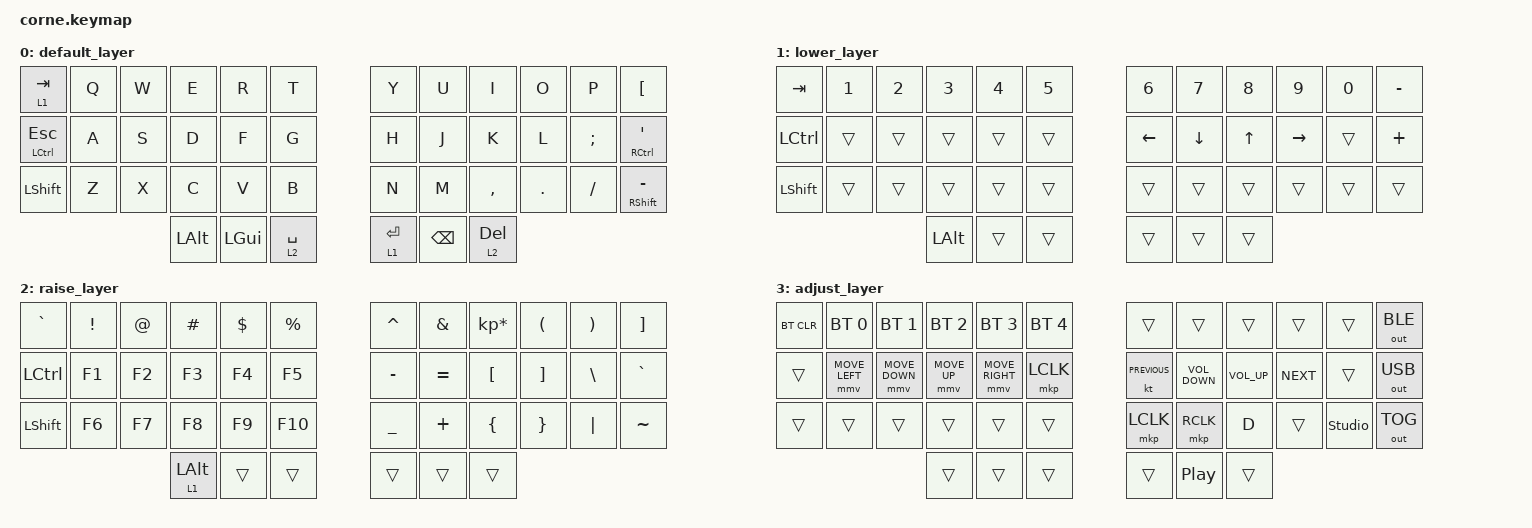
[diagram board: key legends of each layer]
/*
 * Copyright (c) 2020 The ZMK Contributors
 *
 * SPDX-License-Identifier: MIT
 */

#include <dt-bindings/zmk/mouse.h>
#include <behaviors.dtsi>
#include <dt-bindings/zmk/bt.h>
#include <dt-bindings/zmk/keys.h>
#include <dt-bindings/zmk/outputs.h>
#include <dt-bindings/zmk/pointing.h>

#define DEF 0
#define LWR 1
#define RSE 2
#define ADJ 3

/ {
    conditional_layers {
        compatible = "zmk,conditional-layers";

        tri_layer {
            if-layers = <LWR RSE>;
            then-layer = <ADJ>;
        };
    };

    keymap {
        compatible = "zmk,keymap";

        default_layer {
            // -----------------------------------------------------------------------------------------
            // |  TAB      |  Q  |  W  |  E  |  R  |  T  |   |  Y  |  U   |  I  |  O  |  P  | BKSP |
            // | CTRL(ESC) |  A  |  S  |  D  |  F  |  G  |   |  H  |  J   |  K  |  L  |  ;  |  '   |
            // | SHFT      |  Z  |  X  |  C  |  V  |  B  |   |  N  |  M   |  ,  |  .  |  /  | ESC  |
            //                         | GUI | LWR | SPC |   | ENT | RSE  | ALT |

            bindings = <
&lt 1 TAB      &kp Q  &kp W  &kp E         &kp R     &kp T          &kp Y        &kp U          &kp I      &kp O    &kp P     &kp LEFT_BRACKET
&mt LCTRL ESC  &kp A  &kp S  &kp D         &kp F     &kp G          &kp H        &kp J          &kp K      &kp L    &kp SEMI  &mt RCTRL SQT
&kp LSHFT      &kp Z  &kp X  &kp C         &kp V     &kp B          &kp N        &kp M          &kp COMMA  &kp DOT  &kp FSLH  &mt RIGHT_SHIFT MINUS
                             &kp LEFT_ALT  &kp LGUI  &lt 2 SPACE    &lt 1 ENTER  &kp BACKSPACE  &lt 2 DEL
            >;
        };

        lower_layer {
            // -----------------------------------------------------------------------------------------
            // |  TAB |  1  |  2  |  3  |  4  |  5  |   |  6  |  7  |  8  |  9  |  0  | BKSP |
            // |  F1  | F2  | F2  | F3  | F4  | F5  |   | LFT | DWN |  UP | RGT |     |      |
            // | SHFT |     |     |     |     |     |   |     |     |     |     |     |      |
            //                    | GUI |     | SPC |   | ENT |     | ALT |

            bindings = <
&kp TAB    &kp N1  &kp N2  &kp N3        &kp N4  &kp N5    &kp N6    &kp N7    &kp N8  &kp N9     &kp N0  &kp MINUS
&kp LCTRL  &trans  &trans  &trans        &trans  &trans    &kp LEFT  &kp DOWN  &kp UP  &kp RIGHT  &trans  &kp PLUS
&kp LSHFT  &trans  &trans  &trans        &trans  &trans    &trans    &trans    &trans  &trans     &trans  &trans
                           &kp LEFT_ALT  &trans  &trans    &trans    &trans    &trans
            >;
        };

        raise_layer {
            // -----------------------------------------------------------------------------------------
            // |  TAB |  !  |  @  |  #  |  $  |  %  |   |  ^  |  &  |  *  |  (  |  )  | BKSP |
            // | CTRL |     |     |     |     |     |   |  -  |  =  |  [  |  ]  |  \  |  `   |
            // | SHFT |     |     |     |     |     |   |  _  |  +  |  {  |  }  | "|" |  ~   |
            //                    | GUI |     | SPC |   | ENT |     | ALT |

            bindings = <
&kp GRAVE  &kp EXCL  &kp AT  &kp HASH        &kp DLLR  &kp PRCNT    &kp CARET  &kp AMPS   &kp KP_MULTIPLY  &kp LPAR  &kp RPAR  &kp RIGHT_BRACKET
&kp LCTRL  &kp F1    &kp F2  &kp F3          &kp F4    &kp F5       &kp MINUS  &kp EQUAL  &kp LBKT         &kp RBKT  &kp BSLH  &kp GRAVE
&kp LSHFT  &kp F6    &kp F7  &kp F8          &kp F9    &kp F10      &kp UNDER  &kp PLUS   &kp LBRC         &kp RBRC  &kp PIPE  &kp TILDE
                             &lt 1 LEFT_ALT  &trans    &trans       &trans     &trans     &trans
            >;
        };

        adjust_layer {
            bindings = <
&bt BT_CLR  &bt BT_SEL 0    &bt BT_SEL 1    &bt BT_SEL 2  &bt BT_SEL 3     &bt BT_SEL 4    &trans          &trans             &trans           &trans      &trans          &out OUT_BLE
&trans      &mmv MOVE_LEFT  &mmv MOVE_DOWN  &mmv MOVE_UP  &mmv MOVE_RIGHT  &mkp LCLK       &kt C_PREVIOUS  &kp C_VOLUME_DOWN  &kp C_VOLUME_UP  &kp C_NEXT  &trans          &out OUT_USB
&trans      &trans          &trans          &trans        &trans           &trans          &mkp LCLK       &mkp RCLK          &kp D            &trans      &studio_unlock  &out OUT_TOG
                                            &trans        &trans           &trans          &trans          &kp C_PLAY_PAUSE   &trans
            >;
        };
    };
};
